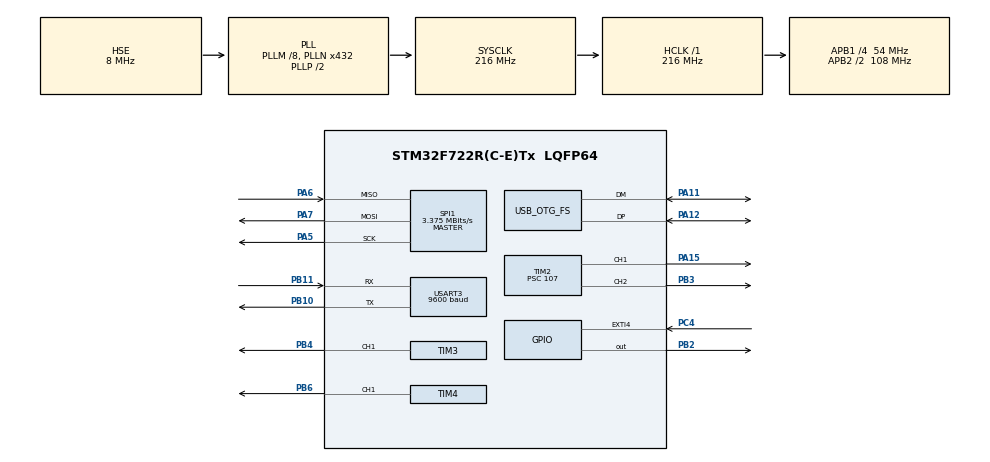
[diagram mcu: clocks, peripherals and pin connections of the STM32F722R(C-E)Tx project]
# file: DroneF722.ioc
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CORTEX_M7.default_mode_Activation=1
Dma.Request0=TIM2_CH1
Dma.Request1=TIM2_CH2/CH4
Dma.Request2=TIM3_CH1/TRIG
Dma.Request3=TIM4_CH1
Dma.TIM2_CH1.0.Direction=DMA_PERIPH_TO_MEMORY
Dma.TIM2_CH1.0.FIFOMode=DMA_FIFOMODE_DISABLE
Dma.TIM2_CH1.0.Instance=DMA1_Stream5
Dma.TIM2_CH1.0.MemDataAlignment=DMA_MDATAALIGN_WORD
Dma.TIM2_CH1.0.MemInc=DMA_MINC_ENABLE
Dma.TIM2_CH1.0.Mode=DMA_NORMAL
Dma.TIM2_CH1.0.PeriphDataAlignment=DMA_PDATAALIGN_WORD
Dma.TIM2_CH1.0.PeriphInc=DMA_PINC_DISABLE
Dma.TIM2_CH1.0.Priority=DMA_PRIORITY_LOW
Dma.TIM2_CH2/CH4.1.Direction=DMA_PERIPH_TO_MEMORY
Dma.TIM2_CH2/CH4.1.FIFOMode=DMA_FIFOMODE_DISABLE
Dma.TIM2_CH2/CH4.1.Instance=DMA1_Stream6
Dma.TIM2_CH2/CH4.1.MemDataAlignment=DMA_MDATAALIGN_WORD
Dma.TIM2_CH2/CH4.1.MemInc=DMA_MINC_ENABLE
Dma.TIM2_CH2/CH4.1.Mode=DMA_NORMAL
Dma.TIM2_CH2/CH4.1.PeriphDataAlignment=DMA_PDATAALIGN_WORD
Dma.TIM2_CH2/CH4.1.PeriphInc=DMA_PINC_DISABLE
Dma.TIM2_CH2/CH4.1.Priority=DMA_PRIORITY_LOW
Dma.TIM3_CH1/TRIG.2.Direction=DMA_PERIPH_TO_MEMORY
Dma.TIM3_CH1/TRIG.2.FIFOMode=DMA_FIFOMODE_DISABLE
Dma.TIM3_CH1/TRIG.2.Instance=DMA1_Stream4
Dma.TIM3_CH1/TRIG.2.MemDataAlignment=DMA_MDATAALIGN_HALFWORD
Dma.TIM3_CH1/TRIG.2.MemInc=DMA_MINC_ENABLE
Dma.TIM3_CH1/TRIG.2.Mode=DMA_NORMAL
Dma.TIM3_CH1/TRIG.2.PeriphDataAlignment=DMA_PDATAALIGN_HALFWORD
Dma.TIM3_CH1/TRIG.2.PeriphInc=DMA_PINC_DISABLE
Dma.TIM3_CH1/TRIG.2.Priority=DMA_PRIORITY_LOW
Dma.TIM4_CH1.3.Direction=DMA_PERIPH_TO_MEMORY
Dma.TIM4_CH1.3.FIFOMode=DMA_FIFOMODE_DISABLE
Dma.TIM4_CH1.3.Instance=DMA1_Stream0
Dma.TIM4_CH1.3.MemDataAlignment=DMA_MDATAALIGN_HALFWORD
Dma.TIM4_CH1.3.MemInc=DMA_MINC_ENABLE
Dma.TIM4_CH1.3.Mode=DMA_NORMAL
Dma.TIM4_CH1.3.PeriphDataAlignment=DMA_PDATAALIGN_HALFWORD
Dma.TIM4_CH1.3.PeriphInc=DMA_PINC_DISABLE
Dma.TIM4_CH1.3.Priority=DMA_PRIORITY_LOW
Mcu.Family=STM32F7
Mcu.Name=STM32F722R(C-E)Tx
Mcu.Package=LQFP64
NVIC.DMA1_Stream0_IRQn=true\:0\:0\:false\:false\:true\:false\:true\:true
NVIC.DMA1_Stream4_IRQn=true\:0\:0\:false\:false\:true\:false\:true\:true
NVIC.DMA1_Stream5_IRQn=true\:0\:0\:false\:false\:true\:false\:true\:true
NVIC.DMA1_Stream6_IRQn=true\:0\:0\:false\:false\:true\:false\:true\:true
NVIC.EXTI4_IRQn=true\:0\:0\:false\:false\:true\:true\:true\:true
NVIC.OTG_FS_IRQn=true\:0\:0\:false\:false\:true\:false\:true\:true
NVIC.PriorityGroup=NVIC_PRIORITYGROUP_4
NVIC.SPI1_IRQn=true\:0\:0\:false\:false\:true\:true\:true\:true
NVIC.TIM2_IRQn=true\:0\:0\:false\:false\:true\:true\:true\:true
NVIC.TIM3_IRQn=true\:0\:0\:false\:false\:true\:true\:true\:true
NVIC.TIM4_IRQn=true\:0\:0\:false\:false\:true\:true\:true\:true
NVIC.USART3_IRQn=true\:0\:0\:false\:false\:true\:true\:true\:true
PA11.Mode=Device_Only
PA11.Signal=USB_OTG_FS_DM
PA12.Mode=Device_Only
PA12.Signal=USB_OTG_FS_DP
PA15.Signal=S_TIM2_CH1_ETR
PA5.Mode=Full_Duplex_Master
PA5.Signal=SPI1_SCK
PA6.Mode=Full_Duplex_Master
PA6.Signal=SPI1_MISO
PA7.Mode=Full_Duplex_Master
PA7.Signal=SPI1_MOSI
PB10.Mode=Asynchronous
PB10.Signal=USART3_TX
PB11.Mode=Asynchronous
PB11.Signal=USART3_RX
PB2.GPIO_Speed=GPIO_SPEED_FREQ_VERY_HIGH
PB2.Signal=GPIO_Output
PB3.Signal=S_TIM2_CH2
PB4.Signal=S_TIM3_CH1
PB6.Signal=S_TIM4_CH1
PC4.Signal=GPXTI4
PH0-OSC_IN.Mode=HSE-External-Oscillator
PH0-OSC_IN.Signal=RCC_OSC_IN
PH1-OSC_OUT.Mode=HSE-External-Oscillator
PH1-OSC_OUT.Signal=RCC_OSC_OUT
ProjectManager.HeapSize=0x200
ProjectManager.StackSize=0x400
ProjectManager.TargetToolchain=STM32CubeIDE
RCC.AHBFreq_Value=216000000
RCC.APB1CLKDivider=RCC_HCLK_DIV4
RCC.APB1Freq_Value=54000000
RCC.APB1TimFreq_Value=108000000
RCC.APB2CLKDivider=RCC_HCLK_DIV2
RCC.APB2Freq_Value=108000000
RCC.APB2TimFreq_Value=216000000
RCC.CortexFreq_Value=216000000
RCC.HCLKFreq_Value=216000000
RCC.HSE_VALUE=8000000
RCC.HSI_VALUE=16000000
RCC.LSE_VALUE=32768
RCC.PLLM=8
RCC.PLLN=432
RCC.PLLQ=9
RCC.SYSCLKFreq_VALUE=216000000
RCC.SYSCLKSource=RCC_SYSCLKSOURCE_PLLCLK
RCC.USBFreq_Value=48000000
RCC.VCOOutputFreq_Value=432000000
SH.S_TIM2_CH1_ETR.0=TIM2_CH1,PWM Generation1 CH1
SH.S_TIM2_CH2.0=TIM2_CH2,PWM Generation2 CH2
SH.S_TIM3_CH1.0=TIM3_CH1,PWM Generation1 CH1
SH.S_TIM4_CH1.0=TIM4_CH1,PWM Generation1 CH1
SPI1.BaudRatePrescaler=SPI_BAUDRATEPRESCALER_32
SPI1.CLKPhase=SPI_PHASE_1EDGE
SPI1.CLKPolarity=SPI_POLARITY_LOW
SPI1.CalculateBaudRate=3.375 MBits/s
SPI1.DataSize=SPI_DATASIZE_8BIT
SPI1.Direction=SPI_DIRECTION_2LINES
SPI1.FirstBit=SPI_FIRSTBIT_MSB
SPI1.Mode=SPI_MODE_MASTER
SPI1.VirtualType=VM_MASTER
TIM2.Channel-PWM\ Generation1\ CH1=TIM_CHANNEL_1
TIM2.Channel-PWM\ Generation2\ CH2=TIM_CHANNEL_2
TIM2.Period=2082
TIM2.Prescaler=107
TIM2.Pulse-PWM\ Generation1\ CH1=2000
TIM2.Pulse-PWM\ Generation2\ CH2=2000
TIM3.Channel-PWM\ Generation1\ CH1=TIM_CHANNEL_1
TIM3.Period=2082
TIM3.Prescaler=107
TIM3.Pulse-PWM\ Generation1\ CH1=2000
TIM4.Channel-PWM\ Generation1\ CH1=TIM_CHANNEL_1
TIM4.Period=2082
TIM4.Prescaler=107
TIM4.Pulse-PWM\ Generation1\ CH1=1000
USART3.BaudRate=9600
USART3.VirtualMode-Asynchronous=VM_ASYNC
USB_DEVICE.CLASS_NAME_FS=CDC
USB_DEVICE.VirtualMode-CDC_FS=Cdc
USB_DEVICE.VirtualModeFS=Cdc_FS
USB_OTG_FS.VirtualMode=Device_Only
VP_TIM2_VS_ClockSourceINT.Mode=Internal
VP_TIM3_VS_ClockSourceINT.Mode=Internal
VP_TIM4_VS_ClockSourceINT.Mode=Internal
VP_USB_DEVICE_VS_USB_DEVICE_CDC_FS.Mode=CDC_FS
board=custom

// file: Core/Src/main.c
/* USER CODE BEGIN Header */
/**
  ******************************************************************************
  * @file           : main.c
  * @brief          : Main program body
  ******************************************************************************
  * @attention
  *
  * Copyright (c) 2025 STMicroelectronics.
  * All rights reserved.
  *
  * This software is licensed under terms that can be found in the LICENSE file
  * in the root directory of this software component.
  * If no LICENSE file comes with this software, it is provided AS-IS.
  *
  ******************************************************************************
  */
/* USER CODE END Header */
#include "main.h"
#include "usb_device.h"

/* USER CODE BEGIN Includes */
#include <stdio.h>
#include "usbd_cdc_if.h"
#include <icm4268.h>
#ifndef MATH
#include <math.h>
#define MATH
#endif
//#include "ICM42688.h"
/* USER CODE END Includes */

/* USER CODE BEGIN PD */
// Определяем возможные состояния
typedef enum {
  DRONE_STATE_IDLE = 0,       // Бездействие
  DRONE_STATE_TEST_CYCLE,     // Тестовый цикл
  DRONE_STATE_EMERGENCY_STOP, // Аварийная остановка
  DRONE_STATE_LANDING,        // Приземление
  DRONE_STATE_LQR,
  // Будущие состояния автономного движения
  DRONE_STATE_MOVE_FORWARD,
  DRONE_STATE_HOVER,
  DRONE_TEST_DIRS,
  // и т.д.
} DroneState;
volatile DroneState currentState = DRONE_STATE_IDLE;
volatile DroneState requestedState = DRONE_STATE_IDLE;
volatile uint32_t stateStartTime = 0;
volatile uint32_t landingStartAltitude = 0;
volatile uint8_t landingInProgress = 0;
/* USER CODE END PD */

/* USER CODE BEGIN PM */
#define RX_BUF_SIZE  16
static uint8_t rx_byte;
static char cmd_buf[RX_BUF_SIZE];
static uint8_t cmd_idx = 0;
static uint8_t mode = 0;
uint8_t rx_buf[5];
volatile uint8_t rx_idx = 0;
GPIO_TypeDef* ICM_CS_GPIO_Port = GPIOB;
uint16_t      ICM_CS_Pin       = GPIO_PIN_2;
float angles_rad[3], angles_deg[3], gyro_rad_s[3], angles_speed[3], angles_rad_prev[3];
int16_t accel_raw[3], gyro_raw[3];
float filtered_accel[3] = {0};
float filtered_gyro[3] = {0};
float dt = 0.01f;
float pos[3], prev_pos[3], pos_req[3], speed[3];
//float k1=10,k2=5,k3=10,k4=5,k5=10,k6=5,k7=31623,k8=251,k9=31623,k10=251,k11=0,k12=0;
float k1=10,k2=5,k3=10,k4=5,k5=10,k6=5,k7=100,k8=25,k9=100,k10=25,k11=0,k12=0;
int requested_speed = 1220;
float m = 0.1, Ix=0.0021, Iy=0.0021, Iz=0.0043;
float kf=0.0000158, k_1_2_l=3.33, kf_inv=63463.8;
// Преобразование LQR_DC в PWM и ограничение значений
uint16_t motorPWM[4];
float scale = 0.5f;    // Коэффициент масштабирования (подберите экспериментально)
const float min_pwm = 1140.0f; // Минимальный рабочий PWM
const float max_pwm = 1170.0f; // Максимально допустимый PWM
float bias[3];
uint32_t timer_lqr = 0;
/* USER CODE END PM */

SPI_HandleTypeDef hspi1;

TIM_HandleTypeDef htim2;
TIM_HandleTypeDef htim3;
TIM_HandleTypeDef htim4;
DMA_HandleTypeDef hdma_tim2_ch1;
DMA_HandleTypeDef hdma_tim2_ch2_ch4;
DMA_HandleTypeDef hdma_tim3_ch1_trig;
DMA_HandleTypeDef hdma_tim4_ch1;

UART_HandleTypeDef huart3;

void SystemClock_Config(void);
static void MPU_Config(void);
static void MX_GPIO_Init(void);
static void MX_DMA_Init(void);
static void MX_TIM2_Init(void);
static void MX_TIM3_Init(void);
static void MX_TIM4_Init(void);
static void MX_SPI1_Init(void);
static void MX_USART3_UART_Init(void);

/* USER CODE BEGIN 0 */
void USB_CDC_RxHandler(uint8_t*, uint32_t);
int _write(int file, char *ptr, int len) {
    CDC_Transmit_FS((uint8_t*) ptr, len); return len;
}
void SetMotorOutputs(uint16_t ch1, uint16_t ch2, uint16_t ch3, uint16_t ch4)
{
    __HAL_TIM_SET_COMPARE(&htim2, TIM_CHANNEL_1, ch1);
    __HAL_TIM_SET_COMPARE(&htim2, TIM_CHANNEL_2, ch2);
    __HAL_TIM_SET_COMPARE(&htim3, TIM_CHANNEL_1, ch3);
    __HAL_TIM_SET_COMPARE(&htim4, TIM_CHANNEL_1, ch4);
}
void ArmESCs(void)
{
    // Установить минимальный сигнал (обычно 1000 мкс) на все каналы
    SetMotorOutputs(1000, 1000, 1000, 1000);
    // Подождать, чтобы ESC успели проинициализироваться
    HAL_Delay(2000);  // Задержка 2 секунды
}
void testCycle(void){
	for (uint16_t dc = 1000; dc <= 1220; dc += 2) {
	  SetMotorOutputs(dc, dc, dc, dc);
	  HAL_Delay(80);
	}
	for (uint16_t dc = 1220; dc > 1000; dc -= 2) {
	  SetMotorOutputs(dc, dc, dc, dc);
	  HAL_Delay(80);
	}
	// Сбрасываем и ждём
	//SetMotorOutputs(1000, 1000, 1000, 1000);
}
void testMotorsDirs(void){
	SetMotorOutputs(1150, 1000, 1000, 1000);
	HAL_Delay(2500);
	SetMotorOutputs(1000, 1000, 1000, 1000);
	///////////
	SetMotorOutputs(1000, 1150, 1000, 1000);
	HAL_Delay(2500);
	SetMotorOutputs(1000, 1000, 1000, 1000);
	/////////
	SetMotorOutputs(1000, 1000, 1150, 1000);
	HAL_Delay(2500);
	SetMotorOutputs(1000, 1000, 1000, 1000);
	////////
	SetMotorOutputs(1000, 1000, 1000, 1150);
	HAL_Delay(2500);
	SetMotorOutputs(1000, 1000, 1000, 1000);
}
void stopMotors(void){
  //SetMotorOutputs(dc, dc, dc, dc);
	// Сбрасываем и ждём
	SetMotorOutputs(1000, 1000, 1000, 1000);
}
void performLanding(void) {
  static uint32_t landingTimer = 0;
  static uint16_t currentThrottle = 0;

  // При первом входе в режим приземления
  if (!landingInProgress) {
    landingInProgress = 1;
    landingTimer = HAL_GetTick();
    // Предполагаем, что текущая мощность моторов около 1200
    currentThrottle = 1200;
    printf("LANDING STARTED\r\n");
  }

  // Постепенно уменьшаем мощность моторов в течение 5 секунд
  uint32_t elapsedTime = HAL_GetTick() - landingTimer;
  if (elapsedTime < 5000) {
    // Линейное снижение от currentThrottle до 1000 за 5 секунд
    uint16_t newThrottle = 1000 + (uint16_t)((float)(currentThrottle - 1000) * (1.0f - (float)elapsedTime / 5000.0f));
    SetMotorOutputs(newThrottle, newThrottle, newThrottle, newThrottle);
  } else {
    // Приземление завершено
    SetMotorOutputs(1000, 1000, 1000, 1000);
    landingInProgress = 0;
    currentState = DRONE_STATE_IDLE;
    printf("LANDING COMPLETE\r\n");
  }
}

// Функция выполнения тестового цикла с возможностью прерывания
void performTestCycle(void) {
  static uint16_t currentDC = 1000;
  static uint8_t increasing = 1;
  static uint32_t lastUpdate = 0;

  // Проверяем, не поступило ли запроса на смену состояния
  if (requestedState != currentState) {
    // Прерываем текущее выполнение
    return;
  }

  uint32_t now = HAL_GetTick();
  // Обновляем сигнал с частотой примерно 12.5 Гц (80 мс)
  if (now - lastUpdate >= 80) {
    lastUpdate = now;

    if (increasing) {
      currentDC += 2;
      if (currentDC >= requested_speed)
        increasing = 0;
    } else {
      currentDC -= 2;
      if (currentDC <= 1020) {
        increasing = 1;
        // Цикл завершен, можно перейти в режим ожидания
        currentState = DRONE_STATE_IDLE;
        requestedState = DRONE_STATE_IDLE;
        SetMotorOutputs(1000, 1000, 1000, 1000);
        printf("TEST CYCLE COMPLETE\r\n");
        return;
      }
    }

    SetMotorOutputs(currentDC, currentDC, currentDC, currentDC);
  }
}

void performLQRStable(void) {
  float LQR_SPEED[4] = {0, 0, 0, 0};

  // Проверяем, не поступило ли запроса на смену состояния
  if (requestedState != currentState) {
    // Прерываем текущее выполнение
    return;
  }
  uint32_t now = HAL_GetTick();
  //if (timer_lqr<now){
  if (timer_lqr<now && now < timer_lqr + 60000){
  //if (timer_lqr<now){
	  float nu[6];
	  float g = 1.81f;
	  nu[0] = -k1*(pos[0]-pos_req[0])-k2*speed[0];
	  nu[1] = -k3*(pos[1]-pos_req[1])-k4*speed[1];
	  nu[2] = -k5*(pos[2]-pos_req[2])-k6*speed[2];

	  nu[5] = -k11*angles_rad[2]-k12*angles_speed[2];
	  //uint32_t now = HAL_GetTick();
	  float bar_theta = atan2f(nu[0], (nu[2] + g));
	  float bar_phi = atan2f(nu[1], (nu[2] + g));

	  nu[3] = -k7*(angles_rad[0]-bar_phi)-k8*angles_speed[0];
	  nu[4] = -k9*(angles_rad[1]-bar_theta)-k10*angles_speed[1];

	  float U[4];
	  if ((fabsf(cosf(bar_phi)) < 0.00001f) || (fabsf(cosf(bar_theta)) < 0.00001f)) {
	      printf("ERROR: Division by zero in U[0] calculation\r\n");
	      SetMotorOutputs(1100, 1100, 1100, 1100);
	      return;
	  }
	  U[0] = m*(nu[2]+g)/(cosf(bar_phi)*cosf(bar_theta));
	  U[1] = Ix*nu[3]-(Iy-Iz)*angles_speed[1]*angles_speed[2];
	  U[2] = Iy*nu[4]-(Ix-Iz)*angles_speed[0]*angles_speed[2];
	  U[3] = Iz*nu[5]-(Ix-Iy)*angles_speed[0]*angles_speed[1];
	  //printf("T: %f, t_phi: %f, t_theta: %f, t_psi: %f\r\n", U[0], U[1], U[2], U[3]);
	  float temps[4];
	  temps[0] = kf_inv*(U[0]-k_1_2_l*U[2])-U[3];
	  temps[1] = kf_inv*(U[0]-k_1_2_l*U[1])+U[3];
	  temps[2] = kf_inv*(U[0]+k_1_2_l*U[2])-U[3];
	  temps[3] = kf_inv*(U[0]+k_1_2_l*U[1])+U[3];
	  for (int i = 0; i < 4; i++) {
		if (temps[i]<0){
			printf("ERROR ZERO CROSSING IN SQRT %d = %f\r\n", i, temps[i]);
			SetMotorOutputs(1100, 1100, 1100, 1100);
			return;
		}
	  }
	  LQR_SPEED[0] = 0.5*sqrtf(temps[0]);
	  LQR_SPEED[1] = 0.5*sqrtf(temps[1]);
	  LQR_SPEED[2] = 0.5*sqrtf(temps[2]);
	  LQR_SPEED[3] = 0.5*sqrtf(temps[3]);
	  for (int i = 0; i < 4; i++) {
		  // Масштабирование и смещение
		  float pwm = LQR_SPEED[i] * scale + min_pwm;

		  // Ограничение диапазона
		  pwm = fmaxf(pwm, min_pwm);
		  pwm = fminf(pwm, max_pwm);

		  motorPWM[i] = (uint16_t)pwm;
	  }
	  printf("motors: %d, %d, %d, %d\r\n", motorPWM[0], motorPWM[1],motorPWM[2],motorPWM[3]);

	  // Установка PWM для моторов
	  SetMotorOutputs(motorPWM[3],motorPWM[2],motorPWM[0], motorPWM[1]);
  } else {
	  SetMotorOutputs(1100, 1100, 1100, 1100);
  }

}

// Функция обработки состояний - вызывается в основном цикле
void handleDroneState(void) {
  // Если есть запрос на изменение состояния
  if (requestedState != currentState) {
    // Выполняем необходимые действия при смене состояния
    switch (requestedState) {
      case DRONE_STATE_EMERGENCY_STOP:
        // Экстренная остановка всегда имеет приоритет
        SetMotorOutputs(1060, 1060, 1060, 1060);
        printf("EMERGENCY STOP ACTIVATED\r\n");
        break;

      case DRONE_STATE_LANDING:
        // Сброс для начала процесса приземления
        landingInProgress = 0;
        break;

      case DRONE_STATE_TEST_CYCLE:
        // Перезапуск тестового цикла
        printf("TEST CYCLE STARTED\r\n");
        break;

      case DRONE_STATE_LQR:
		  // Перезапуск тестового цикла
    	  timer_lqr = HAL_GetTick()+15000;
		  printf("STARTED LQR\r\n");
		  break;

//      case DRONE_TEST_DIRS:
//    	  printf("TEST DIRS STARTED\r\n");
//		  break;

      default:
        break;
    }

    // Обновляем текущее состояние
    currentState = requestedState;
    stateStartTime = HAL_GetTick();
  }

  // Выполняем действия в соответствии с текущим состоянием
  switch (currentState) {
    case DRONE_STATE_IDLE:
      // В режиме ожидания ничего не делаем с моторами
      break;

    case DRONE_STATE_TEST_CYCLE:
      performTestCycle();
      break;

    case DRONE_STATE_LANDING:
      performLanding();
      break;

    case DRONE_STATE_EMERGENCY_STOP:
      // Просто поддерживаем минимальную мощность
      SetMotorOutputs(1000, 1000, 1000, 1000);
      break;

    case DRONE_STATE_LQR:
		// Просто поддерживаем минимальную мощность
    	performLQRStable();
		break;

    default:
      break;
  }
}

/* USER CODE END 0 */

int main(void)
{

  /* MPU Configuration--------------------------------------------------------*/
  MPU_Config();

  /* MCU Configuration--------------------------------------------------------*/

  /* Reset of all peripherals, Initializes the Flash interface and the Systick. */
  HAL_Init();

  /* Configure the system clock */
  SystemClock_Config();

  /* Initialize all configured peripherals */
  MX_GPIO_Init();
  MX_DMA_Init();
  MX_USB_DEVICE_Init();
  MX_TIM2_Init();
  MX_TIM3_Init();
  MX_TIM4_Init();
  MX_SPI1_Init();
  MX_USART3_UART_Init();
  /* USER CODE BEGIN 2 */
  HAL_TIM_PWM_Start(&htim2, TIM_CHANNEL_1);
  HAL_TIM_PWM_Start(&htim2, TIM_CHANNEL_2);
  HAL_TIM_PWM_Start(&htim3, TIM_CHANNEL_1);
  HAL_TIM_PWM_Start(&htim4, TIM_CHANNEL_1);
  ArmESCs();
  //TestSPI();
  if (ICM_Init() != HAL_OK) {
	  HAL_Delay(1000);
	  printf("ERROR INIT GYRO\r\n");
  }
  else {
	  ICM_CalibrateGyro(bias);
	  printf("Calibration complete: bias_x=%.2f, bias_y=%.2f, bias_z=%.2f deg/s\r\n",
			 bias[0], bias[1], bias[2]);
	  printf("HIHIHIHA\r\n");
  }
//  uint32_t t0 = HAL_GetTick();
//  ICM_InitOrientation(t0);

//  else {
//	  ICM_EnableDataReadyInt();
//  }

//  uint8_t st;
//  ICM_ReadRegs(0x56, &st, 1);
//  printf("INT_SOURCE0=0x%02X\n", st);
  //testCycle();
  /* USER CODE END 2 */

  /* Infinite loop */
  /* USER CODE BEGIN WHILE */
  //HAL_UART_Receive_IT(&huart3, &rx_buf, 1);
  //HAL_Delay(12000);
  //testMotorsDirs();
  printf("Begin main loop\r\n");
  HAL_Delay(300);
  HAL_UART_Receive_IT(&huart3, &rx_byte, 1);

//  int16_t raw[3];
//  for (int i = 0; i < 8; i++) {
//      ICM_ReadGyroRaw(raw);
//      printf("%2d: %6d %6d %6d\r\n", i, raw[0], raw[1], raw[2]);
//  }
//  int32_t sum = 0;
//  for (int i = 0; i < 100; i++) {
//	  //printf("%d\r\n", i);
//    ICM_ReadGyroRaw(raw);
//    sum += raw[0];
//    //sum2 += raw[0]*raw[0];
//    HAL_Delay(1);
//  }
//  float mean = sum/100.0f;
  //float var  = sum2/1000.0f - mean*mean;
  //printf("Mean=%f\r\n", mean);
//  int16_t gyro_raw[3];
//  //float accel[3];
//  uint8_t raw[6];
//  uint32_t last_time = HAL_GetTick();
  //ICM_CalibrateAccel(accel_bias);
  //ICM_CalibrateGyro(gyro_bias);
  // Применяем калибровку при чтении:
  //accel_data[i] = (raw_value - accel_bias[i]) / 8192.0f;
  //uint32_t prev_time = HAL_GetTick();
  uint32_t last_orientation_time = HAL_GetTick()-10;
  requestedState = DRONE_STATE_LQR;
  //pos_req[2] = 1;
  //float euler_deg[3];
  while (1)
  {
	  HAL_Delay(10);
	  // Обработка состояния дрона
	  handleDroneState();

	  // Чтение данных ориентации каждые N мс
	  uint32_t now = HAL_GetTick();
//	  if (now - last_orientation_time >= 1) { // 10 мс = 100 Гц

		  if (ICM_UpdateEulerAngles() == HAL_OK) {
			  memcpy(angles_rad, angles_rad_prev, 3);
			  ICM_GetEulerAngles(angles_rad);
//			  for (int i = 0; i<3; i++){
//				  angles_speed[i] = (angles_rad_prev[i] - angles_rad[i])/((now-last_orientation_time)*0.0001f);
//			  }

			  // Вывод ориентации с меньшей частотой, чтобы не перегружать UART
			  if ((now % 100) == 0) {  // каждые 100 мс = 10 Гц
				  printf("ORIENT: %.2f, %.2f, %.2f\r\n", angles_rad[0], angles_rad[1], angles_rad[2]);
			  }
		  } else {
			  printf("ERROR ANGLES\r\n");
		  }
		  last_orientation_time = now;
	//  }
//	  switch(mode){
//	  	  case 1:
//			  testCycle();
//			  mode = 0;
//			  break;
//	  	  case 2:
//	  		  stopMotors();
//	  		  mode = 0;
//	  		  break;
//	  }
//
////	  uint32_t now = HAL_GetTick();
////	  float dt = (now - last_time) * 0.001f;
////	  last_time = now;
////
////	  UpdateOrientation(dt);
//
//	  //uint32_t t = HAL_GetTick();
//	  if (ICM_UpdateEulerAngles() == HAL_OK) {
//		  ICM_GetEulerAngles(angles_rad);
//		  // euler_deg[0]=roll, [1]=pitch, [2]=yaw в градусах
//		  printf("ORIENT: %.2f, %.2f, %.2f\r\n", euler_rad[0], euler_rad[1], euler_rad[2]);
//	  } else {
//		  printf("ERROR\r\n");
//	  }

//	  if (ICM_UpdateOrientationDeg(t, euler_deg) == HAL_OK) {
//	      // euler_deg[0]=roll, [1]=pitch, [2]=yaw в градусах
//		  printf("ORIENT: %.2f, %.2f, %.2f\r\n", euler_deg[0], euler_deg[1], euler_deg[2]);
//	  }
//	  HAL_Delay(1);
//	  HAL_Delay(100);
//
//
//	  if (ICM_ReadGyro_RAW(gyro_raw) == HAL_OK) {
//		  printf("GYRO_RAW: %6d, %6d, %6d\r\n", gyro_raw[0], gyro_raw[1], gyro_raw[2]);
//	  } else {
//		  printf("GYRO READ ERROR\r\n");
//	  }
//
//	  if (ICM_ReadAccel_RAW(accel_raw) == HAL_OK) {
//	      printf("ACCEL: %6d, %6d, %6d\r\n", accel_raw[0], accel_raw[1], accel_raw[2]);
//	  } else {
//	      printf("ACCEL READ ERROR\r\n");
//	  }
//
//	  if (ICM_ReadOrientationDegrees(angles_deg) == HAL_OK) {
//		  printf("Orient: %.2f, %.2f, %.2f\r\n", angles_deg[0], angles_deg[1], angles_deg[2]);
//	  } else {
//		  printf("ACCEL READ ERROR\r\n");
//	  }

    /* USER CODE END WHILE */

  }
}

void SystemClock_Config(void)
{
  RCC_OscInitTypeDef RCC_OscInitStruct = {0};
  RCC_ClkInitTypeDef RCC_ClkInitStruct = {0};

  /** Configure the main internal regulator output voltage
  */
  __HAL_RCC_PWR_CLK_ENABLE();
  __HAL_PWR_VOLTAGESCALING_CONFIG(PWR_REGULATOR_VOLTAGE_SCALE1);

  /** Initializes the RCC Oscillators according to the specified parameters
  * in the RCC_OscInitTypeDef structure.
  */
  RCC_OscInitStruct.OscillatorType = RCC_OSCILLATORTYPE_HSE;
  RCC_OscInitStruct.HSEState = RCC_HSE_ON;
  RCC_OscInitStruct.PLL.PLLState = RCC_PLL_ON;
  RCC_OscInitStruct.PLL.PLLSource = RCC_PLLSOURCE_HSE;
  RCC_OscInitStruct.PLL.PLLM = 8;
  RCC_OscInitStruct.PLL.PLLN = 432;
  RCC_OscInitStruct.PLL.PLLP = RCC_PLLP_DIV2;
  RCC_OscInitStruct.PLL.PLLQ = 9;
  if (HAL_RCC_OscConfig(&RCC_OscInitStruct) != HAL_OK)
  {
    Error_Handler();
  }

  /** Activate the Over-Drive mode
  */
  if (HAL_PWREx_EnableOverDrive() != HAL_OK)
  {
    Error_Handler();
  }

  /** Initializes the CPU, AHB and APB buses clocks
  */
  RCC_ClkInitStruct.ClockType = RCC_CLOCKTYPE_HCLK|RCC_CLOCKTYPE_SYSCLK
                              |RCC_CLOCKTYPE_PCLK1|RCC_CLOCKTYPE_PCLK2;
  RCC_ClkInitStruct.SYSCLKSource = RCC_SYSCLKSOURCE_PLLCLK;
  RCC_ClkInitStruct.AHBCLKDivider = RCC_SYSCLK_DIV1;
  RCC_ClkInitStruct.APB1CLKDivider = RCC_HCLK_DIV4;
  RCC_ClkInitStruct.APB2CLKDivider = RCC_HCLK_DIV2;

  if (HAL_RCC_ClockConfig(&RCC_ClkInitStruct, FLASH_LATENCY_7) != HAL_OK)
  {
    Error_Handler();
  }
}

static void MX_SPI1_Init(void)
{

  /* SPI1 parameter configuration*/
  hspi1.Instance = SPI1;
  hspi1.Init.Mode = SPI_MODE_MASTER;
  hspi1.Init.Direction = SPI_DIRECTION_2LINES;
  hspi1.Init.DataSize = SPI_DATASIZE_8BIT;
  hspi1.Init.CLKPolarity = SPI_POLARITY_LOW;
  hspi1.Init.CLKPhase = SPI_PHASE_1EDGE;
  hspi1.Init.NSS = SPI_NSS_SOFT;
  hspi1.Init.BaudRatePrescaler = SPI_BAUDRATEPRESCALER_32;
  hspi1.Init.FirstBit = SPI_FIRSTBIT_MSB;
  hspi1.Init.TIMode = SPI_TIMODE_DISABLE;
  hspi1.Init.CRCCalculation = SPI_CRCCALCULATION_DISABLE;
  hspi1.Init.CRCPolynomial = 7;
  hspi1.Init.CRCLength = SPI_CRC_LENGTH_DATASIZE;
  hspi1.Init.NSSPMode = SPI_NSS_PULSE_ENABLE;
  if (HAL_SPI_Init(&hspi1) != HAL_OK)
  {
    Error_Handler();
  }

}

static void MX_TIM2_Init(void)
{

  TIM_ClockConfigTypeDef sClockSourceConfig = {0};
  TIM_MasterConfigTypeDef sMasterConfig = {0};
  TIM_OC_InitTypeDef sConfigOC = {0};

  htim2.Instance = TIM2;
  htim2.Init.Prescaler = 107;
  htim2.Init.CounterMode = TIM_COUNTERMODE_UP;
  htim2.Init.Period = 2082;
  htim2.Init.ClockDivision = TIM_CLOCKDIVISION_DIV1;
  htim2.Init.AutoReloadPreload = TIM_AUTORELOAD_PRELOAD_DISABLE;
  if (HAL_TIM_Base_Init(&htim2) != HAL_OK)
  {
    Error_Handler();
  }
  sClockSourceConfig.ClockSource = TIM_CLOCKSOURCE_INTERNAL;
  if (HAL_TIM_ConfigClockSource(&htim2, &sClockSourceConfig) != HAL_OK)
  {
    Error_Handler();
  }
  if (HAL_TIM_PWM_Init(&htim2) != HAL_OK)
  {
    Error_Handler();
  }
  sMasterConfig.MasterOutputTrigger = TIM_TRGO_RESET;
  sMasterConfig.MasterSlaveMode = TIM_MASTERSLAVEMODE_DISABLE;
  if (HAL_TIMEx_MasterConfigSynchronization(&htim2, &sMasterConfig) != HAL_OK)
  {
    Error_Handler();
  }
  sConfigOC.OCMode = TIM_OCMODE_PWM1;
  sConfigOC.Pulse = 2000;
  sConfigOC.OCPolarity = TIM_OCPOLARITY_HIGH;
  sConfigOC.OCFastMode = TIM_OCFAST_DISABLE;
  if (HAL_TIM_PWM_ConfigChannel(&htim2, &sConfigOC, TIM_CHANNEL_1) != HAL_OK)
  {
    Error_Handler();
  }
  if (HAL_TIM_PWM_ConfigChannel(&htim2, &sConfigOC, TIM_CHANNEL_2) != HAL_OK)
  {
    Error_Handler();
  }
  HAL_TIM_MspPostInit(&htim2);

}

static void MX_TIM3_Init(void)
{

  TIM_ClockConfigTypeDef sClockSourceConfig = {0};
  TIM_MasterConfigTypeDef sMasterConfig = {0};
  TIM_OC_InitTypeDef sConfigOC = {0};

  htim3.Instance = TIM3;
  htim3.Init.Prescaler = 107;
  htim3.Init.CounterMode = TIM_COUNTERMODE_UP;
  htim3.Init.Period = 2082;
  htim3.Init.ClockDivision = TIM_CLOCKDIVISION_DIV1;
  htim3.Init.AutoReloadPreload = TIM_AUTORELOAD_PRELOAD_DISABLE;
  if (HAL_TIM_Base_Init(&htim3) != HAL_OK)
  {
    Error_Handler();
  }
  sClockSourceConfig.ClockSource = TIM_CLOCKSOURCE_INTERNAL;
  if (HAL_TIM_ConfigClockSource(&htim3, &sClockSourceConfig) != HAL_OK)
  {
    Error_Handler();
  }
  if (HAL_TIM_PWM_Init(&htim3) != HAL_OK)
  {
    Error_Handler();
  }
  sMasterConfig.MasterOutputTrigger = TIM_TRGO_RESET;
  sMasterConfig.MasterSlaveMode = TIM_MASTERSLAVEMODE_DISABLE;
  if (HAL_TIMEx_MasterConfigSynchronization(&htim3, &sMasterConfig) != HAL_OK)
  {
    Error_Handler();
  }
  sConfigOC.OCMode = TIM_OCMODE_PWM1;
  sConfigOC.Pulse = 2000;
  sConfigOC.OCPolarity = TIM_OCPOLARITY_HIGH;
  sConfigOC.OCFastMode = TIM_OCFAST_DISABLE;
  if (HAL_TIM_PWM_ConfigChannel(&htim3, &sConfigOC, TIM_CHANNEL_1) != HAL_OK)
  {
    Error_Handler();
  }
  HAL_TIM_MspPostInit(&htim3);

}

static void MX_TIM4_Init(void)
{

  TIM_ClockConfigTypeDef sClockSourceConfig = {0};
  TIM_MasterConfigTypeDef sMasterConfig = {0};
  TIM_OC_InitTypeDef sConfigOC = {0};

  htim4.Instance = TIM4;
  htim4.Init.Prescaler = 107;
  htim4.Init.CounterMode = TIM_COUNTERMODE_UP;
  htim4.Init.Period = 2082;
  htim4.Init.ClockDivision = TIM_CLOCKDIVISION_DIV1;
  htim4.Init.AutoReloadPreload = TIM_AUTORELOAD_PRELOAD_DISABLE;
  if (HAL_TIM_Base_Init(&htim4) != HAL_OK)
  {
    Error_Handler();
  }
  sClockSourceConfig.ClockSource = TIM_CLOCKSOURCE_INTERNAL;
  if (HAL_TIM_ConfigClockSource(&htim4, &sClockSourceConfig) != HAL_OK)
  {
    Error_Handler();
  }
  if (HAL_TIM_PWM_Init(&htim4) != HAL_OK)
  {
    Error_Handler();
  }
  sMasterConfig.MasterOutputTrigger = TIM_TRGO_RESET;
  sMasterConfig.MasterSlaveMode = TIM_MASTERSLAVEMODE_DISABLE;
  if (HAL_TIMEx_MasterConfigSynchronization(&htim4, &sMasterConfig) != HAL_OK)
  {
    Error_Handler();
  }
  sConfigOC.OCMode = TIM_OCMODE_PWM1;
  sConfigOC.Pulse = 1000;
  sConfigOC.OCPolarity = TIM_OCPOLARITY_HIGH;
  sConfigOC.OCFastMode = TIM_OCFAST_DISABLE;
  if (HAL_TIM_PWM_ConfigChannel(&htim4, &sConfigOC, TIM_CHANNEL_1) != HAL_OK)
  {
    Error_Handler();
  }
  HAL_TIM_MspPostInit(&htim4);

}

static void MX_USART3_UART_Init(void)
{

  huart3.Instance = USART3;
  huart3.Init.BaudRate = 9600;
  huart3.Init.WordLength = UART_WORDLENGTH_8B;
  huart3.Init.StopBits = UART_STOPBITS_1;
  huart3.Init.Parity = UART_PARITY_NONE;
  huart3.Init.Mode = UART_MODE_TX_RX;
  huart3.Init.HwFlowCtl = UART_HWCONTROL_NONE;
  huart3.Init.OverSampling = UART_OVERSAMPLING_16;
  huart3.Init.OneBitSampling = UART_ONE_BIT_SAMPLE_DISABLE;
  huart3.AdvancedInit.AdvFeatureInit = UART_ADVFEATURE_NO_INIT;
  if (HAL_UART_Init(&huart3) != HAL_OK)
  {
    Error_Handler();
  }

}

static void MX_DMA_Init(void)
{

  /* DMA controller clock enable */
  __HAL_RCC_DMA1_CLK_ENABLE();

  /* DMA interrupt init */
  /* DMA1_Stream0_IRQn interrupt configuration */
  HAL_NVIC_SetPriority(DMA1_Stream0_IRQn, 0, 0);
  HAL_NVIC_EnableIRQ(DMA1_Stream0_IRQn);
  /* DMA1_Stream4_IRQn interrupt configuration */
  HAL_NVIC_SetPriority(DMA1_Stream4_IRQn, 0, 0);
  HAL_NVIC_EnableIRQ(DMA1_Stream4_IRQn);
  /* DMA1_Stream5_IRQn interrupt configuration */
  HAL_NVIC_SetPriority(DMA1_Stream5_IRQn, 0, 0);
  HAL_NVIC_EnableIRQ(DMA1_Stream5_IRQn);
  /* DMA1_Stream6_IRQn interrupt configuration */
  HAL_NVIC_SetPriority(DMA1_Stream6_IRQn, 0, 0);
  HAL_NVIC_EnableIRQ(DMA1_Stream6_IRQn);

}

static void MX_GPIO_Init(void)
{
  GPIO_InitTypeDef GPIO_InitStruct = {0};

  /* GPIO Ports Clock Enable */
  __HAL_RCC_GPIOH_CLK_ENABLE();
  __HAL_RCC_GPIOA_CLK_ENABLE();
  __HAL_RCC_GPIOC_CLK_ENABLE();
  __HAL_RCC_GPIOB_CLK_ENABLE();

  /*Configure GPIO pin Output Level */
  HAL_GPIO_WritePin(GPIOB, GPIO_PIN_2, GPIO_PIN_RESET);

  /*Configure GPIO pin : PC4 */
  GPIO_InitStruct.Pin = GPIO_PIN_4;
  GPIO_InitStruct.Mode = GPIO_MODE_IT_RISING;
  GPIO_InitStruct.Pull = GPIO_NOPULL;
  HAL_GPIO_Init(GPIOC, &GPIO_InitStruct);

  /*Configure GPIO pin : PB2 */
  GPIO_InitStruct.Pin = GPIO_PIN_2;
  GPIO_InitStruct.Mode = GPIO_MODE_OUTPUT_PP;
  GPIO_InitStruct.Pull = GPIO_NOPULL;
  GPIO_InitStruct.Speed = GPIO_SPEED_FREQ_VERY_HIGH;
  HAL_GPIO_Init(GPIOB, &GPIO_InitStruct);

  /* EXTI interrupt init*/
  HAL_NVIC_SetPriority(EXTI4_IRQn, 0, 0);
  HAL_NVIC_EnableIRQ(EXTI4_IRQn);

}

/* USER CODE BEGIN 4 */
uint8_t ParseCommand(const char* buf, uint32_t Len) {
    char cmd[64] = {0};
    if (Len >= sizeof(cmd)) Len = sizeof(cmd)-1;
    memcpy(cmd, buf, Len);

    // Удаляем терминаторы
    for (int i = 0; i < Len; i++) {
        if (cmd[i]=='\r' || cmd[i]=='\n' || cmd[i]==';') {
            cmd[i] = '\0';
            break;
        }
    }
    if (strncmp(cmd, "SP", 2) == 0) {
		float x, y, z;
		if (sscanf(cmd + 2, "%f,%f,%f", &x, &y, &z) == 3) {
			memcpy(prev_pos, pos, 3*sizeof( float ) );
			pos[0] = x;
			pos[1] = y;
			pos[2] = z;

			HAL_UART_Transmit(&huart3, (uint8_t*)"POS_SET\r\n", 9, HAL_MAX_DELAY);
		} else {
			HAL_UART_Transmit(&huart3, (uint8_t*)"POS_ERR\r\n", 10, HAL_MAX_DELAY);
		}
		return 0;
	}// ECHO
    if (strcmp(cmd, "STOP") == 0) {
		requestedState = DRONE_STATE_EMERGENCY_STOP;
		HAL_UART_Transmit(&huart3, (uint8_t*)"EMERGENCY STOP REQUESTED\r\n", 26, HAL_MAX_DELAY);
		return 0;
	}

	if (strcmp(cmd, "LAND") == 0) {
		requestedState = DRONE_STATE_LANDING;
		HAL_UART_Transmit(&huart3, (uint8_t*)"LANDING REQUESTED\r\n", 19, HAL_MAX_DELAY);
		return 0;
	}
    if (strcmp(cmd, "ECHO") == 0) {
        HAL_UART_Transmit(&huart3, (uint8_t*)"ECHO\r\n", 6, HAL_MAX_DELAY);
        return 0;
    }
    // ARM
    if (strcmp(cmd, "ARM") == 0) {
        ArmESCs();
        HAL_UART_Transmit(&huart3, (uint8_t*)"ARMED\r\n", 7, HAL_MAX_DELAY);
        return 0;
    }
    // DISARM
    if (strcmp(cmd, "DISARM") == 0) {
        HAL_UART_Transmit(&huart3, (uint8_t*)"DISARMED\r\n", 10, HAL_MAX_DELAY);
        return 0;
    }
    // TEST-M
    if (strcmp(cmd, "TEST-M") == 0) {
    	requested_speed=1220;
    	requestedState = DRONE_STATE_TEST_CYCLE;
        HAL_UART_Transmit(&huart3, (uint8_t*)"TEST CYCLE\r\n", 12, HAL_MAX_DELAY);
        return 0;
    }
    if (strncmp(cmd, "ST", 2) == 0) {
    	sscanf(cmd + 2, "%d", &requested_speed);
		requestedState = DRONE_STATE_TEST_CYCLE;
		char out[32];
		int n = snprintf(out, sizeof(out),"START in %d\r\n", requested_speed);
		HAL_UART_Transmit(&huart3, (uint8_t*)out, n, HAL_MAX_DELAY);
		return 0;
	}
    // CALB
    if (strcmp(cmd, "CALB") == 0) {
        ICM_CalibrateGyro(bias);
    	ICM_ResetOrientation();
        HAL_UART_Transmit(&huart3, (uint8_t*)"Reset Successfully\r\n", 20, HAL_MAX_DELAY);
        return 0;
    }
    // GET_ACC-POS
    if (strcmp(cmd, "GET_ACC-POS") == 0) {
    	ICM_GetEulerAnglesDeg(angles_deg);
        char out[128];
        int n = snprintf(out, sizeof(out),
            "ANG: %.2f,%.2f,%.2f; POS: %.2f,%.2f,%.2f\r\n",
			angles_deg[0], angles_deg[1], angles_deg[2], pos[0], pos[1], pos[2]);
        HAL_UART_Transmit(&huart3, (uint8_t*)out, n, HAL_MAX_DELAY);
        return 0;
    }
    if (strncmp(cmd, "LQR", 3) == 0){
    	requestedState = DRONE_STATE_LQR;
    	float x, y, z;
		if (sscanf(cmd + 3, "%f,%f,%f", &x, &y, &z) == 3) {
			memcpy(prev_pos, pos, 3*sizeof( float ) );
			pos_req[0] = x;
			pos_req[1] = y;
			pos_req[2] = z;

			//HAL_UART_Transmit(&huart3, (uint8_t*)"POS_SET\r\n", 9, HAL_MAX_DELAY);
		}
    	//sscanf(cmd + 3, "%f,%f,%f", &pos_req[0],&pos_req[1],pos_req[2]);
    	char out[64];
    	int n = snprintf(out, sizeof(out),"POS REQ: %.2f,%.2f,%.2f\r\n", pos_req[0], pos_req[1], pos_req[2]);
    	HAL_UART_Transmit(&huart3, (uint8_t*)out, n, HAL_MAX_DELAY);
		//HAL_Delay(4000);
		return 0;
    }
    // GET_GYRO
//    if (strcmp(cmd, "GET_GYRO") == 0) {
//        char out[64];
//        int n = snprintf(out, sizeof(out),
//            "GYRO: %.2f,%.2f,%.2f\r\n",
//            gyro[0], gyro[1], gyro[2]);
//        HAL_UART_Transmit(&huart3, (uint8_t*)out, n, HAL_MAX_DELAY);
//        return 0;
//    }
    if (strcmp(cmd, "GET_POS") == 0) {
		char out[128];
		int n = snprintf(out, sizeof(out),
			"POS: %.2f,%.2f,%.2f; PREV: %.2f,%.2f,%.2f\r\n",
			pos[0], pos[1], pos[2], prev_pos[0], prev_pos[1], prev_pos[2]);
		HAL_UART_Transmit(&huart3, (uint8_t*)out, n, HAL_MAX_DELAY);
		return 0;
	}
    // SET_COEFFS:k1,k2,...,k12
    if (strncmp(cmd, "SC", 2) == 0) {
    	char out[64];
    	int n = snprintf(out, sizeof(out), "%.1f,%.1f,%.1f,%.1f,%.1f,%.1f,%.1f,%.1f,%.1f,%.1f,%.1f,%.1f\r\n", k1,k2,k3,k4,k5,k6,k7,k8,k9,k10,k11,k12);
		HAL_UART_Transmit(&huart3, (uint8_t*)out, n, HAL_MAX_DELAY);
        return 0;
    }
    if (strncmp(cmd, "SSC", 3)==0){
    	char out[64];
    	float k=0.0;
    	if (sscanf(cmd+3, "%f", &k) == 1){
    		scale = k;
    	}
    	int l = snprintf(out, sizeof(out),"scale SET TO %.2f\r\n", scale);
		HAL_UART_Transmit(&huart3, (uint8_t*)out, l, HAL_MAX_DELAY);
    }

    if (strncmp(cmd, "SK", 2) == 0) {
    	int n =0;
    	float k=0.0;
		if (sscanf(cmd + 2, "%d,%f", &n, &k) == 2) {
			char out[64];
			switch (n){
			case 1:
				k1=k;
				break;
			case 2:
				k2=k;
				break;
			case 3:
				k3=k;
				break;
			case 4:
				k4=k;
				break;
			case 5:
				k5=k;
				break;
			case 6:
				k6=k;
				break;
			case 7:
				k7=k;
				break;
			case 8:
				k8=k;
				break;
			case 9:
				k9=k;
				break;
			case 10:
				k10=k;
				break;
			case 11:
				k11=k;
				break;
			case 12:
				k12=k;
				break;
			}
			int l = snprintf(out, sizeof(out),"K%d SET TO %.2f\r\n", n,k);
			HAL_UART_Transmit(&huart3, (uint8_t*)out, l, HAL_MAX_DELAY);
		} else {
			HAL_UART_Transmit(&huart3, (uint8_t*)buf, Len, HAL_MAX_DELAY);
		}
		return 0;
        }
    // Неизвестная команда
    HAL_UART_Transmit(&huart3, (uint8_t*)buf, Len, HAL_MAX_DELAY);
    return 1;
}

void HAL_GPIO_EXTI_Callback(uint16_t GPIO_Pin) {
//    if (GPIO_Pin == GPIO_PIN_4) {
//    	printf("LOL\r\n");
//        // Сюда пришло прерывание Data Ready
//        if (ICM_ReadAccel(accel) == HAL_OK && ICM_ReadGyro(gyro) == HAL_OK) {
//            // Обработать данные: сохранить, передать по UART, фильтровать и т.п.
//        	printf("RAW GYRO: %f, %f, %f\r\n", gyro[0], gyro[1], gyro[2]);
//        }
//        // Если INT_CONFIG без latch, очищать статус не нужно.
//        // Если latch=1, статус сбрасывается чтением INT_SOURCE:
//        // uint8_t status;
//        // ICM_ReadRegs(0x56, &status, 1);
//    }
}

uint8_t copy_rx;
void HAL_UART_RxCpltCallback(UART_HandleTypeDef *huart) {
    cmd_buf[cmd_idx++] = rx_byte;
    // конец команды: ';' или '\n' или переполнение буфера
    if (rx_byte == ';' || rx_byte == '\n' || cmd_idx >= RX_BUF_SIZE-1) {
        cmd_buf[cmd_idx] = '\0';
        ParseCommand(cmd_buf, cmd_idx);
        cmd_idx = 0;
    }
    HAL_UART_Receive_IT(&huart3, &rx_byte, 1);
}

void USB_CDC_RxHandler(uint8_t* Buf, uint32_t Len)
{
	HAL_UART_Transmit(&huart3, (uint8_t*)Buf, Len, 10);
//	if (ParseCommand((const char*)Buf, Len) == 1){
//		//CDC_Transmit_FS(Buf, Len);
//		HAL_UART_Transmit(&huart3, (uint8_t*)Buf, Len, 10);
//	}
}
/* USER CODE END 4 */

 /* MPU Configuration */

void MPU_Config(void)
{
  MPU_Region_InitTypeDef MPU_InitStruct = {0};

  /* Disables the MPU */
  HAL_MPU_Disable();

  /** Initializes and configures the Region and the memory to be protected
  */
  MPU_InitStruct.Enable = MPU_REGION_ENABLE;
  MPU_InitStruct.Number = MPU_REGION_NUMBER0;
  MPU_InitStruct.BaseAddress = 0x0;
  MPU_InitStruct.Size = MPU_REGION_SIZE_4GB;
  MPU_InitStruct.SubRegionDisable = 0x87;
  MPU_InitStruct.TypeExtField = MPU_TEX_LEVEL0;
  MPU_InitStruct.AccessPermission = MPU_REGION_NO_ACCESS;
  MPU_InitStruct.DisableExec = MPU_INSTRUCTION_ACCESS_DISABLE;
  MPU_InitStruct.IsShareable = MPU_ACCESS_SHAREABLE;
  MPU_InitStruct.IsCacheable = MPU_ACCESS_NOT_CACHEABLE;
  MPU_InitStruct.IsBufferable = MPU_ACCESS_NOT_BUFFERABLE;

  HAL_MPU_ConfigRegion(&MPU_InitStruct);
  /* Enables the MPU */
  HAL_MPU_Enable(MPU_PRIVILEGED_DEFAULT);

}

void Error_Handler(void)
{
  __disable_irq();
  while (1)
  {
  }
}
